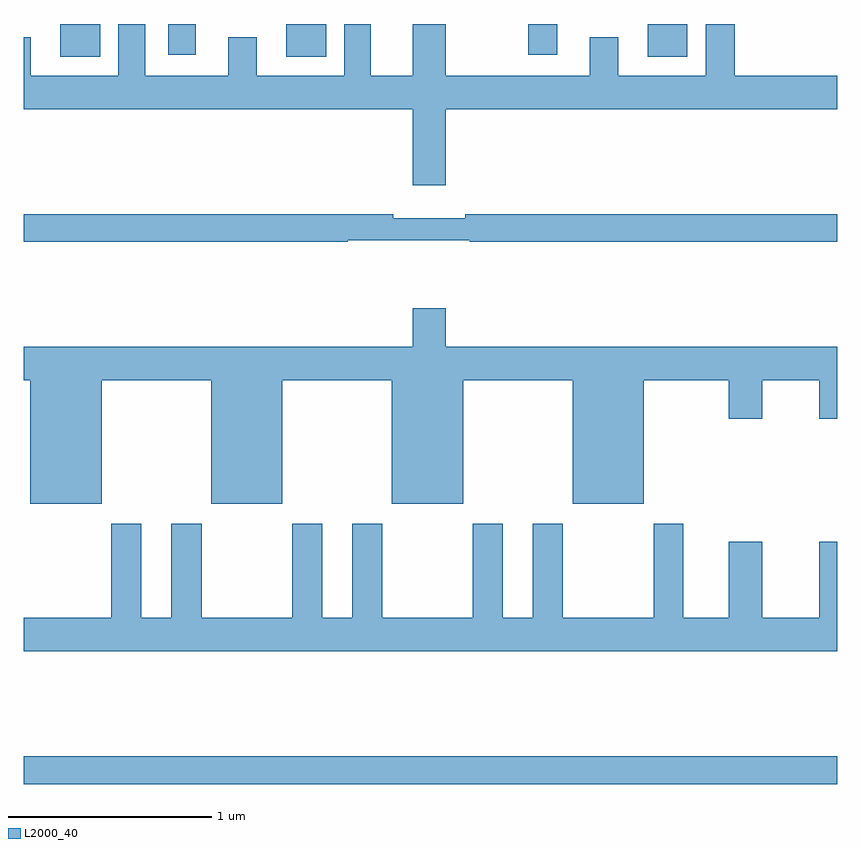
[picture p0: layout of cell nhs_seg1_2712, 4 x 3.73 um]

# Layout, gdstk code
import gdstk
lib = gdstk.Library(unit=1e-6, precision=1e-09)
def R(c, l, rs):  # rectangles x0, y0, x1, y1
    for r in rs: c.add(gdstk.rectangle(r[:2], r[2:], *l))
def P(c, l, *ps):  # polygons
    for p in ps: c.add(gdstk.Polygon(p, *l))
L2000_40 = (2000, 40)

nhs_seg1_2712 = lib.new_cell('nhs_seg1_2712')
R(nhs_seg1_2712, L2000_40, [(259,500.464,263,500.6), (259.181,504.038,259.377,504.199), (260.291,504.038,260.487,504.199), (262.067,504.038,262.263,504.199), (259.712,504.048,259.846,504.199), (261.481,504.048,261.622,504.199)])
P(nhs_seg1_2712, L2000_40, [(260.912,503.406),(261.076,503.406),(261.076,503.78),(263,503.78),(263,503.944),(262.496,503.944),(262.496,504.199),(262.352,504.199),(262.352,503.944),(261.922,503.944),(261.922,504.134),(261.782,504.134),(261.782,503.944),(261.076,503.944),(261.076,504.199),(260.912,504.199),(260.912,503.944),(260.707,503.944),(260.707,504.199),(260.576,504.199),(260.576,503.944),(260.146,503.944),(260.146,504.134),(260.006,504.134),(260.006,503.944),(259.597,503.944),(259.597,504.199),(259.466,504.199),(259.466,503.944),(259.036,503.944),(259.036,504.134),(259,504.134),(259,503.78),(260.912,503.78)],
  [(260.594,503.136),(261.194,503.136),(261.194,503.128),(263,503.128),(263,503.264),(261.172,503.264),(261.172,503.245),(260.816,503.245),(260.816,503.264),(259,503.264),(259,503.128),(260.594,503.128)],
  [(259.384,502.448),(259.922,502.448),(259.922,501.842),(260.272,501.842),(260.272,502.448),(260.81,502.448),(260.81,501.842),(261.16,501.842),(261.16,502.448),(261.698,502.448),(261.698,501.842),(262.048,501.842),(262.048,502.448),(262.466,502.448),(262.466,502.26),(262.63,502.26),(262.63,502.448),(262.91,502.448),(262.91,502.26),(263,502.26),(263,502.612),(261.076,502.612),(261.076,502.801),(260.912,502.801),(260.912,502.612),(259,502.612),(259,502.448),(259.034,502.448),(259.034,501.842),(259.384,501.842)],
  [(262.096,501.742),(262.096,501.28),(261.651,501.28),(261.651,501.742),(261.503,501.742),(261.503,501.28),(261.355,501.28),(261.355,501.742),(261.208,501.742),(261.208,501.28),(260.763,501.28),(260.763,501.742),(260.615,501.742),(260.615,501.28),(260.467,501.28),(260.467,501.742),(260.32,501.742),(260.32,501.28),(259.875,501.28),(259.875,501.742),(259.727,501.742),(259.727,501.28),(259.579,501.28),(259.579,501.742),(259.432,501.742),(259.432,501.28),(259,501.28),(259,501.116),(263,501.116),(263,501.655),(262.91,501.655),(262.91,501.28),(262.63,501.28),(262.63,501.655),(262.466,501.655),(262.466,501.28),(262.243,501.28),(262.243,501.742)])

lib.write_gds('nhs_seg1_2712.gds')
